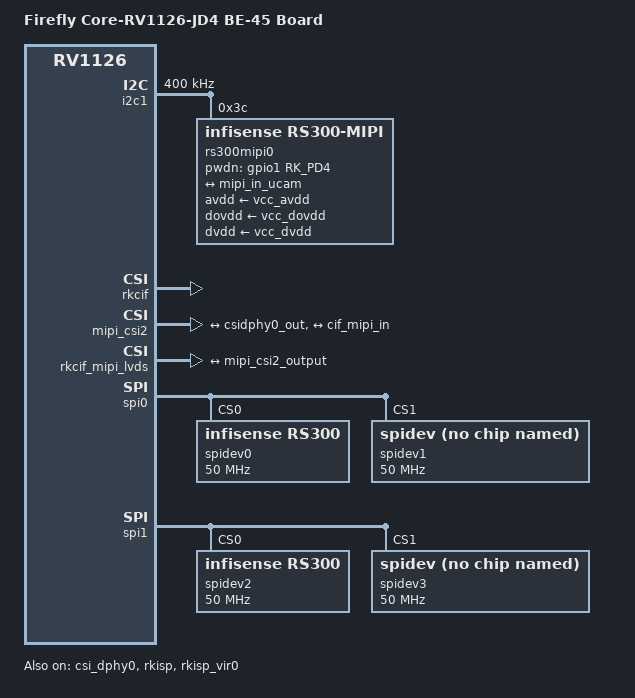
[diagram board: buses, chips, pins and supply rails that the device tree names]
// SPDX-License-Identifier: (GPL-2.0+ OR MIT)
/*
 * Copyright (c) 2020 Rockchip Electronics Co., Ltd.
 */
/dts-v1/;
#include "rv1126.dtsi"
#include "rv1126-firefly-jd4-BE-45.dtsi"
/ {
	model = "Firefly Core-RV1126-JD4 BE-45 Board";
	compatible = "rockchip,rv1126-evb-ddr3-v12", "rockchip,rv1126";
	chosen {			
                bootargs = "earlycon=uart8250,mmio32,0xff570000 console=ttyFIQ0 ro root=PARTLABEL=rootfs rootfstype=ext4 rootwait overlayroot=device:dev=PARTLABEL=userdata,fstype=ext4,mkfs=1 cgroup_enable=memory swapaccount=1 snd_aloop.index=7";
        };
};
//root=PARTLABEL=backup 去掉overlayroot 可以切换其它文件系统启动
&i2c1 {
	status = "okay";
	clock-frequency = <400000>;
	rs300mipi0: rs300mipi0@3c {
		status = "okay";
		compatible = "infisense,rs300-mipi";
		reg = <0x3c>;
		clocks = <&cru CLK_MIPICSI_OUT>;
		clock-names = "xvclk";
		power-domains = <&power RV1126_PD_VI>;
		pinctrl-names = "rockchip,camera_default";
		pinctrl-0 = <&mipicsi_clk0>;
		avdd-supply = <&vcc_avdd>;
		dovdd-supply = <&vcc_dovdd>;
		dvdd-supply = <&vcc_dvdd>;
		pwdn-gpios = <&gpio1 RK_PD4 GPIO_ACTIVE_HIGH>;
		rockchip,camera-module-index = <0>;
		rockchip,camera-module-facing = "front";
		rockchip,camera-module-name = "CMK-OT1607-FV1";
		rockchip,camera-module-lens-name = "M12-40IRC-4MP-F16";
		port {
			ucam_out: endpoint {
				remote-endpoint = <&mipi_in_ucam>;
				data-lanes = <1 2>;
			};
		};
	};
};

&rkcif {
	status = "okay";
};

&rkcif_mmu {
	status = "okay";
};

/*sensor->csi dphy->mipi csi host->rkcif */
&csi_dphy0 {
	status = "okay";

	ports {
		#address-cells = <1>;
		#size-cells = <0>;
		port@0 {
			reg = <0>;
			#address-cells = <1>;
			#size-cells = <0>;

			mipi_in_ucam: endpoint@1 {
				reg = <1>;
				remote-endpoint = <&ucam_out>;
				data-lanes = <1 2>;
			};
		};
		port@1 {
			reg = <1>;
			#address-cells = <1>;
			#size-cells = <0>;

			csidphy0_out: endpoint@0 {
				reg = <0>;
				remote-endpoint = <&mipi_csi2_input>;
			};
		};
	};
};

&mipi_csi2 {
	status = "okay";

	ports {
		#address-cells = <1>;
		#size-cells = <0>;

		port@0 {
			reg = <0>;
			#address-cells = <1>;
			#size-cells = <0>;

			mipi_csi2_input: endpoint@1 {
				reg = <1>;
				remote-endpoint = <&csidphy0_out>;
				data-lanes = <1 2>;
			};
		};

		port@1 {
			reg = <1>;
			#address-cells = <1>;
			#size-cells = <0>;

			mipi_csi2_output: endpoint@0 {
				reg = <0>;
				remote-endpoint = <&cif_mipi_in>;
				data-lanes = <1 2>;
			};
		};
	};
};

&rkcif_mipi_lvds {
	status = "okay";

	port {
		/* MIPI CSI-2 endpoint */
		cif_mipi_in: endpoint {
			remote-endpoint = <&mipi_csi2_output>;
			data-lanes = <1 2>;
		};
	};
};

&pinctrl {
	cif	{
		cifm0_dvp_ctl_15_8: cifm0_dvp_ctl_15_8 {
                        rockchip,pins =
                                /* cif_clkin_m0 */
                                <3 RK_PC5 1 &pcfg_pull_none>,
                                /* cif_clkout_m0 */
                                <3 RK_PC6 1 &pcfg_pull_none>,
                                /* cif_d10_m0 */
                                <3 RK_PB6 1 &pcfg_pull_none>,
                                /* cif_d11_m0 */
                                <3 RK_PB7 1 &pcfg_pull_none>,
                                /* cif_d12_m0 */
                                <3 RK_PC0 1 &pcfg_pull_none>,
                                /* cif_d13_m0 */
                                <3 RK_PC1 1 &pcfg_pull_none>,
                                /* cif_d14_m0 */
                                <3 RK_PC2 1 &pcfg_pull_none>,
                                /* cif_d15_m0 */
                                <3 RK_PC3 1 &pcfg_pull_none>,
                                /* cif_d8_m0 */
                                <3 RK_PB4 1 &pcfg_pull_none>,
                                /* cif_d9_m0 */
                                <3 RK_PB5 1 &pcfg_pull_none>,
                                /* cif_hsync_m0 */
                                <3 RK_PC7 1 &pcfg_pull_none>,
                                /* cif_vsync_m0 */
                                <3 RK_PC4 1 &pcfg_pull_none>;
                };
		
	
	};
};

&spi0 {
        status = "okay";
        pinctrl-names = "default", "high_speed";
        pinctrl-0 = <&spi0m1_cs0 &spi0m1_pins>;
        pinctrl-1 = <&spi0m1_cs0 &spi0m1_pins_hs>;
		assigned-clocks = <&pmucru CLK_SPI0>;
		assigned-clock-rates = <100000000>;
        spidev0: spidev@00 {
                status = "okay";
                compatible = "infisense,rs300";
                reg = <0x00>;
                spi-max-frequency = <50000000>;
        };
		spidev1: spidev@01 {
                status = "okay";
                compatible = "linux,spidev";
                reg = <0x01>;
                spi-max-frequency = <50000000>;
        };
};
&uart3{
	status = "disabled";
};
&spi1 {
        status = "okay";
        pinctrl-names = "default", "high_speed";
        pinctrl-0 = <&spi1m2_cs0 &spi1m2_pins>;
        pinctrl-1 = <&spi1m2_cs0 &spi1m2_pins_hs>;
		assigned-clocks = <&cru CLK_SPI1>;
		assigned-clock-rates = <100000000>;
		dma-names = "tx","rx";
        spidev2: spidev@00 {
                status = "okay";
                compatible = "infisense,rs300";
                reg = <0x00>;
                spi-max-frequency = <50000000>;
        };
		spidev3: spidev@01 {
                status = "okay";
                compatible = "linux,spidev";
                reg = <0x01>;
                spi-max-frequency = <50000000>;
        };
};

&rkcif_dvp_sditf{
	status = "disabled";
	port{
	dvp_sditf: endpoint {
		remote-endpoint = <&isp_in>;
		bus-width = <8>;
		hsync-active = <1>;
		vsync-active = <0>;
		pclk-sample = <0>;
		};
	};
};

&rkisp {
	status = "okay"; 
};

/*
&rkisp_vir0 { 
		status = "okay";
		ports { 
			port@0 { 
			reg = <0>; 
			#address-cells = <1>; 
			#size-cells = <0>; 
			isp_in: endpoint@0 { 
				reg = <0>; //dvp sditf的端点名 
				remote-endpoint = <&dvp_sditf>; 
			}; 
		}; 
	}; 
};*/

&rkisp_vir0 {
	status = "okay";
	ports {
		port@0 {
			isp_in: endpoint@0 {
				remote-endpoint = <&csidphy1_out>;
			};
		};
	};
};
